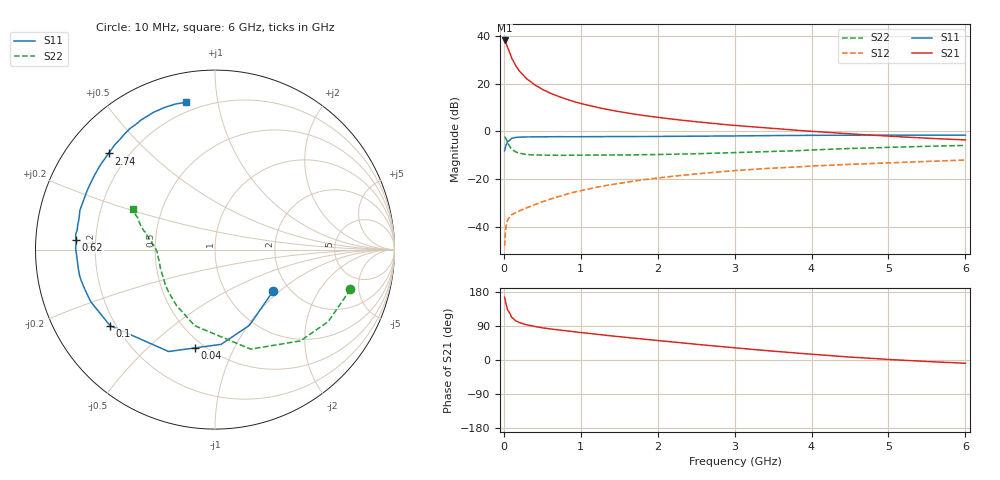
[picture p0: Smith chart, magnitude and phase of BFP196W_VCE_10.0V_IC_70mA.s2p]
! Infineon Technologies  Discrete & RF Semiconductors
! BFP196W
! VCE = 10.0V,  IC =  70mA
! Common Emitter S-Parameters:  Jan 2016
# GHz  S  MA  R  50
!  f  S11  S21  S12  S22
! GHz  MAG  ANG  MAG  ANG  MAG  ANG  MAG  ANG
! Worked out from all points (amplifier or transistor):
!   210 points, 10 MHz to 6 GHz, reference 50 ohm
!   highest |S21| = 38.1 dB at 10 MHz (marker M1)
!   |S21| within 3 dB of that: start of sweep to 49.32 MHz
!   unconditionally stable (mu >= 1): 588 MHz to 3.921 GHz
!   at 185 MHz: K = 0.58, MSG = 29.8 dB, |S12| = -33.5 dB
!   at 1.52 GHz: K = 1.11, MAG = 12.9 dB, |S12| = -21.6 dB
!   at 6 GHz: K = 0.97, MSG = 4.2 dB, |S12| = -12.0 dB
!   S11 on the Smith chart (normalised r, x): 10 MHz: 1.66, -0.90; 40 MHz: 0.45, -0.71; 100 MHz: 0.18, -0.31; 620 MHz: 0.13, +0.03; 2.74 GHz: 0.13, +0.38; 6 GHz: 0.15, +0.81
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0.01  0.3978 -35.1  80 165.8  0.004 63.0  0.7863 -16.4
0.02  0.4637 -65.6  76.36 155.8  0.0077 60.4  0.7476 -32.5
0.03  0.5289 -86.3  69.88 146.2  0.0105 58.7  0.6965 -46.9
0.04  0.5592 -101.6  62.53 139.6  0.0123 52.0  0.6295 -57.6
0.05  0.624 -114.5  56.23 131.3  0.0143 47.1  0.589 -70.3
0.1  0.7221 -144.1  34.73 112.8  0.0181 39.5  0.4389 -104.9
0.15  0.751 -157.3  24.34 103.7  0.02 37.8  0.3782 -124.5
0.2  0.7603 -164.2  18.51 98.8  0.0217 41.1  0.3522 -136.4
0.26  0.7681 -169.2  14.53 94.8  0.024 43.9  0.3379 -145.2
0.3  0.7687 -171.9  12.52 92.7  0.0254 45.7  0.3292 -150.0
0.4  0.7708 -177.0  9.446 88.4  0.0295 50.1  0.3237 -157.0
0.5  0.7766 179.4  7.605 85.0  0.0339 53.8  0.3211 -162.0
0.62  0.7754 176.2  6.172 81.7  0.0393 56.2  0.3185 -166.0
0.8  0.7755 171.8  4.783 77.1  0.0483 59.1  0.3173 -169.5
1.02  0.7769 167.3  3.772 72.1  0.059 60.3  0.3195 -172.8
1.4  0.782 160.2  2.777 63.6  0.0775 60.2  0.3225 -176.5
2.02  0.7881 149.4  1.956 50.9  0.1077 56.8  0.3303 179.3
2.74  0.799 137.9  1.463 36.9  0.1402 51.1  0.3506 174.5
3.1  0.8092 132.2  1.301 30.4  0.1558 47.8  0.3654 171.6
4.1  0.832 118.7  0.985 13.9  0.1925 39.4  0.4165 164.4
5.1  0.8399 108.3  0.782 0.4  0.2239 31.7  0.4689 157.4
6  0.8365 101.2  0.666 -8.6  0.2525 25.7  0.5108 153.8
